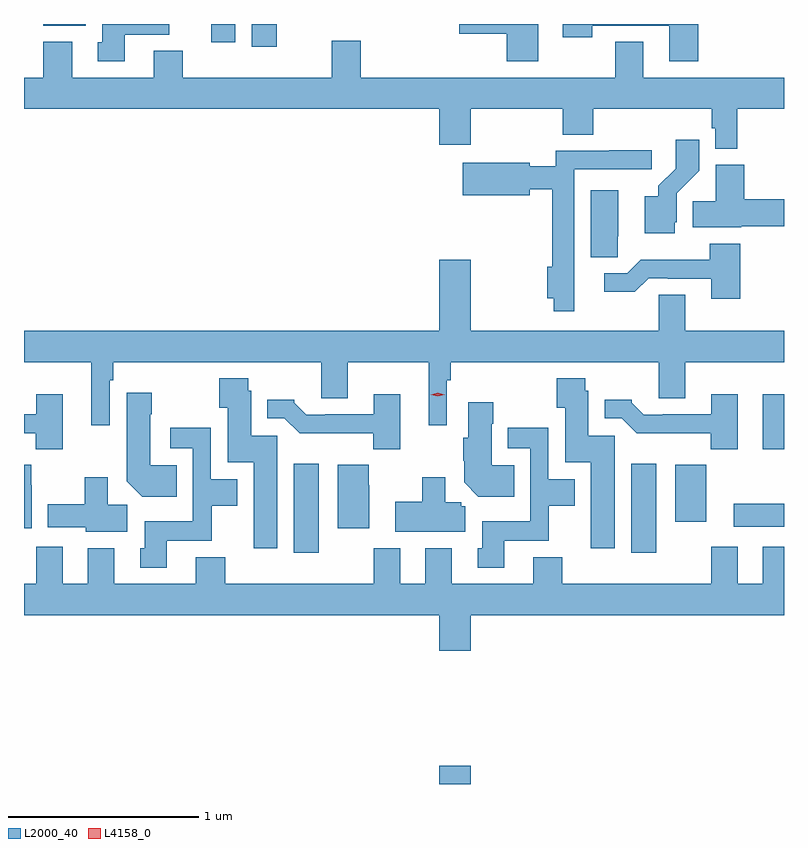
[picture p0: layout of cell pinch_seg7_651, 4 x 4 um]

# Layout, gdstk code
import gdstk
lib = gdstk.Library(unit=1e-6, precision=1e-09)
def R(c, l, rs):  # rectangles x0, y0, x1, y1
    for r in rs: c.add(gdstk.rectangle(r[:2], r[2:], *l))
def P(c, l, *ps):  # polygons
    for p in ps: c.add(gdstk.Polygon(p, *l))
L2000_40 = (2000, 40)
L4158_0 = (4158, 0)

pinch_seg7_651 = lib.new_cell('pinch_seg7_651')
R(pinch_seg7_651, L2000_40, [(212.96,1015.711,213.124,1015.807), (212.195,1016.928,212.326,1017.397), (213.971,1016.928,214.102,1017.397), (214.509,1017.065,214.774,1017.187), (214.661,1017.473,214.774,1017.763), (211.973,1019.592,212.104,1019.711), (211.76,1019.616,211.885,1019.711), (210.876,1019.702,211.099,1019.711)])
P(pinch_seg7_651, L2000_40, [(211.303,1019.654),(211.539,1019.654),(211.539,1019.711),(211.187,1019.711),(211.187,1019.616),(211.163,1019.616),(211.163,1019.514),(211.303,1019.514)],
  [(214.322,1019.711),(213.609,1019.711),(213.609,1019.64),(213.765,1019.64),(213.765,1019.703),(214.169,1019.703),(214.169,1019.514),(214.322,1019.514)],
  [(213.481,1019.711),(213.066,1019.711),(213.066,1019.66),(213.314,1019.66),(213.314,1019.514),(213.481,1019.514)],
  [(214.529,1019.264),(214.774,1019.264),(214.774,1019.428),(214.033,1019.428),(214.033,1019.618),(213.886,1019.618),(213.886,1019.428),(212.546,1019.428),(212.546,1019.623),(212.393,1019.623),(212.393,1019.428),(211.61,1019.428),(211.61,1019.569),(211.457,1019.569),(211.457,1019.428),(211.027,1019.428),(211.027,1019.617),(210.875,1019.617),(210.875,1019.428),(210.774,1019.428),(210.774,1019.264),(212.96,1019.264),(212.96,1019.076),(213.124,1019.076),(213.124,1019.264),(213.61,1019.264),(213.61,1019.128),(213.77,1019.128),(213.77,1019.264),(214.393,1019.264),(214.393,1019.163),(214.413,1019.163),(214.413,1019.054),(214.529,1019.054)],
  [(214.198,1018.668),(214.209,1018.668),(214.209,1018.819),(214.328,1018.938),(214.328,1019.101),(214.203,1019.101),(214.203,1018.949),(214.112,1018.859),(214.112,1018.804),(214.04,1018.804),(214.04,1018.611),(214.198,1018.611)],
  [(213.67,1018.422),(213.669,1018.422),(213.669,1018.947),(214.078,1018.947),(214.078,1019.046),(213.853,1019.046),(213.853,1019.043),(213.572,1019.043),(213.572,1018.963),(213.436,1018.963),(213.436,1018.981),(213.084,1018.981),(213.084,1018.811),(213.436,1018.811),(213.436,1018.842),(213.553,1018.842),(213.553,1018.434),(213.529,1018.434),(213.529,1018.268),(213.561,1018.268),(213.561,1018.2),(213.67,1018.2)],
  [(214.548,1018.646),(214.774,1018.646),(214.774,1018.788),(214.565,1018.788),(214.565,1018.969),(214.415,1018.969),(214.415,1018.778),(214.294,1018.778),(214.294,1018.64),(214.548,1018.64)],
  [(213.9,1018.594),(213.901,1018.594),(213.901,1018.837),(213.758,1018.837),(213.758,1018.483),(213.9,1018.483)],
  [(214.544,1018.555),(214.384,1018.555),(214.384,1018.469),(214.019,1018.469),(213.948,1018.398),(213.828,1018.398),(213.828,1018.301),(213.989,1018.301),(214.062,1018.374),(214.162,1018.374),(214.162,1018.371),(214.391,1018.371),(214.391,1018.266),(214.544,1018.266)],
  [(211.224,1017.836),(211.244,1017.836),(211.244,1017.932),(212.339,1017.932),(212.339,1017.742),(212.479,1017.742),(212.479,1017.932),(212.903,1017.932),(212.903,1017.6),(213,1017.6),(213,1017.836),(213.02,1017.836),(213.02,1017.932),(214.115,1017.932),(214.115,1017.742),(214.255,1017.742),(214.255,1017.932),(214.774,1017.932),(214.774,1018.096),(214.255,1018.096),(214.255,1018.286),(214.116,1018.286),(214.116,1018.096),(213.124,1018.096),(213.124,1018.471),(212.96,1018.471),(212.96,1018.096),(210.774,1018.096),(210.774,1017.932),(211.127,1017.932),(211.127,1017.6),(211.224,1017.6)],
  [(213.883,1017.543),(213.745,1017.543),(213.745,1017.78),(213.729,1017.78),(213.729,1017.847),(213.577,1017.847),(213.577,1017.691),(213.623,1017.691),(213.623,1017.404),(213.758,1017.404),(213.758,1016.952),(213.883,1016.952)],
  [(212.107,1017.543),(211.969,1017.543),(211.969,1017.78),(211.953,1017.78),(211.953,1017.847),(211.801,1017.847),(211.801,1017.691),(211.847,1017.691),(211.847,1017.404),(211.982,1017.404),(211.982,1016.952),(212.107,1016.952)],
  [(211.577,1017.388),(211.438,1017.388),(211.438,1017.656),(211.446,1017.656),(211.446,1017.769),(211.316,1017.769),(211.316,1017.305),(211.397,1017.224),(211.577,1017.224)],
  [(210.979,1017.763),(210.839,1017.763),(210.839,1017.657),(210.774,1017.657),(210.774,1017.558),(210.837,1017.558),(210.837,1017.473),(210.979,1017.473)],
  [(212.755,1017.763),(212.615,1017.763),(212.615,1017.657),(212.359,1017.657),(212.359,1017.654),(212.26,1017.654),(212.196,1017.718),(212.196,1017.733),(212.054,1017.733),(212.054,1017.636),(212.145,1017.636),(212.224,1017.558),(212.613,1017.558),(212.613,1017.473),(212.755,1017.473)],
  [(214.531,1017.763),(214.391,1017.763),(214.391,1017.657),(214.135,1017.657),(214.135,1017.654),(214.036,1017.654),(213.972,1017.718),(213.972,1017.733),(213.83,1017.733),(213.83,1017.636),(213.921,1017.636),(214,1017.558),(214.389,1017.558),(214.389,1017.473),(214.531,1017.473)],
  [(213.353,1017.388),(213.235,1017.388),(213.235,1017.608),(213.243,1017.608),(213.243,1017.721),(213.113,1017.721),(213.113,1017.534),(213.085,1017.534),(213.085,1017.412),(213.092,1017.412),(213.092,1017.298),(213.166,1017.224),(213.353,1017.224)],
  [(211.525,1016.99),(211.761,1016.99),(211.761,1017.176),(211.897,1017.176),(211.897,1017.316),(211.758,1017.316),(211.758,1017.586),(211.545,1017.586),(211.545,1017.477),(211.662,1017.477),(211.662,1017.094),(211.409,1017.094),(211.409,1016.952),(211.385,1016.952),(211.385,1016.85),(211.525,1016.85)],
  [(213.301,1016.99),(213.537,1016.99),(213.537,1017.176),(213.673,1017.176),(213.673,1017.316),(213.534,1017.316),(213.534,1017.586),(213.321,1017.586),(213.321,1017.477),(213.438,1017.477),(213.438,1017.094),(213.185,1017.094),(213.185,1016.952),(213.161,1016.952),(213.161,1016.85),(213.301,1016.85)],
  [(214.366,1017.283),(214.364,1017.283),(214.364,1017.391),(214.202,1017.391),(214.202,1017.09),(214.366,1017.09)],
  [(212.59,1017.284),(212.588,1017.284),(212.588,1017.391),(212.426,1017.391),(212.426,1017.057),(212.59,1017.057)],
  [(210.814,1017.284),(210.812,1017.284),(210.812,1017.391),(210.774,1017.391),(210.774,1017.057),(210.814,1017.057)],
  [(211.318,1017.182),(211.216,1017.182),(211.216,1017.325),(211.094,1017.325),(211.094,1017.184),(210.899,1017.184),(210.899,1017.062),(211.098,1017.062),(211.098,1017.038),(211.318,1017.038)],
  [(213.096,1017.174),(213.075,1017.174),(213.075,1017.194),(212.992,1017.194),(212.992,1017.325),(212.87,1017.325),(212.87,1017.196),(212.727,1017.196),(212.727,1017.038),(213.096,1017.038)],
  [(213.124,1016.6),(214.774,1016.6),(214.774,1016.959),(214.661,1016.959),(214.661,1016.764),(214.531,1016.764),(214.531,1016.959),(214.391,1016.959),(214.391,1016.764),(213.608,1016.764),(213.608,1016.905),(213.455,1016.905),(213.455,1016.764),(213.025,1016.764),(213.025,1016.953),(212.885,1016.953),(212.885,1016.764),(212.755,1016.764),(212.755,1016.953),(212.615,1016.953),(212.615,1016.764),(211.832,1016.764),(211.832,1016.905),(211.679,1016.905),(211.679,1016.764),(211.249,1016.764),(211.249,1016.953),(211.109,1016.953),(211.109,1016.764),(210.979,1016.764),(210.979,1016.959),(210.839,1016.959),(210.839,1016.764),(210.774,1016.764),(210.774,1016.6),(212.96,1016.6),(212.96,1016.412),(213.124,1016.412)])
P(pinch_seg7_651, L4158_0, [(212.952,1017.751),(212.916,1017.76),(212.916,1017.761),(212.916,1017.761),(212.952,1017.771),(212.988,1017.761),(212.988,1017.761),(212.988,1017.76)])

lib.write_gds('pinch_seg7_651.gds')
